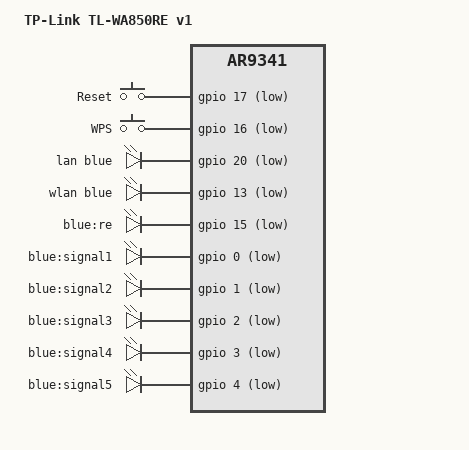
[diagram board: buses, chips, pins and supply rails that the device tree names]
// SPDX-License-Identifier: GPL-2.0-or-later OR MIT

#include <dt-bindings/leds/common.h>

#include "ar9341_tplink_tl-wa.dtsi"

/ {
	model = "TP-Link TL-WA850RE v1";
	compatible = "tplink,tl-wa850re-v1", "qca,ar9341";

	aliases {
		led-boot = &led_re;
		led-failsafe = &led_re;
		led-running = &led_re;
		led-upgrade = &led_re;
	};

	keys {
		compatible = "gpio-keys";

		reset {
			label = "Reset";
			linux,code = <KEY_RESTART>;
			gpios = <&gpio 17 GPIO_ACTIVE_LOW>;
			debounce-interval = <60>;
		};

		wps {
			label = "WPS";
			linux,code = <KEY_WPS_BUTTON>;
			gpios = <&gpio 16 GPIO_ACTIVE_LOW>;
			debounce-interval = <60>;
		};
	};

	leds {
		compatible = "gpio-leds";

		lan {
			function = LED_FUNCTION_LAN;
			color = <LED_COLOR_ID_BLUE>;
			gpios = <&gpio 20 GPIO_ACTIVE_LOW>;
		};

		wlan {
			function = LED_FUNCTION_WLAN;
			color = <LED_COLOR_ID_BLUE>;
			gpios = <&gpio 13 GPIO_ACTIVE_LOW>;
			linux,default-trigger = "phy0tpt";
		};

		led_re: re {
			label = "blue:re";
			gpios = <&gpio 15 GPIO_ACTIVE_LOW>;
		};

		signal1 {
			label = "blue:signal1";
			gpios = <&gpio 0 GPIO_ACTIVE_LOW>;
		};

		signal2 {
			label = "blue:signal2";
			gpios = <&gpio 1 GPIO_ACTIVE_LOW>;
		};

		signal3 {
			label = "blue:signal3";
			gpios = <&gpio 2 GPIO_ACTIVE_LOW>;
		};

		signal4 {
			label = "blue:signal4";
			gpios = <&gpio 3 GPIO_ACTIVE_LOW>;
		};

		signal5 {
			label = "blue:signal5";
			gpios = <&gpio 4 GPIO_ACTIVE_LOW>;
		};
	};
};
